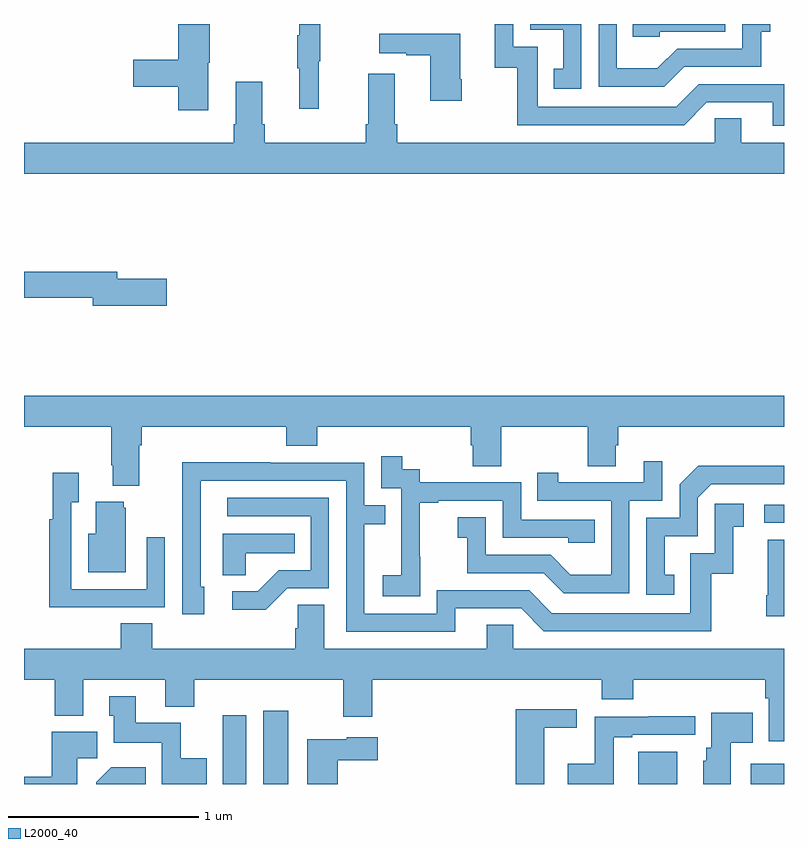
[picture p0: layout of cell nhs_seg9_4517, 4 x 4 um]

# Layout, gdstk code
import gdstk
lib = gdstk.Library(unit=1e-6, precision=1e-09)
def R(c, l, rs):  # rectangles x0, y0, x1, y1
    for r in rs: c.add(gdstk.rectangle(r[:2], r[2:], *l))
def P(c, l, *ps):  # polygons
    for p in ps: c.add(gdstk.Polygon(p, *l))
L2000_40 = (2000, 40)

nhs_seg9_4517 = lib.new_cell('nhs_seg9_4517')
R(nhs_seg9_4517, L2000_40, [(370.046,1234.5,370.171,1234.861), (370.259,1234.5,370.39,1234.885), (372.233,1234.5,372.439,1234.669), (372.824,1234.5,373,1234.606), (372.897,1235.874,373,1235.97)])
P(nhs_seg9_4517, L2000_40, [(373,1238.184),(372.552,1238.184),(372.432,1238.064),(371.703,1238.064),(371.703,1238.379),(371.574,1238.379),(371.574,1238.5),(371.477,1238.5),(371.477,1238.271),(371.595,1238.271),(371.595,1237.968),(372.474,1237.968),(372.594,1238.088),(372.941,1238.088),(372.941,1237.965),(373,1237.965)],
  [(369.97,1238.295),(369.978,1238.295),(369.978,1238.5),(369.812,1238.5),(369.812,1238.312),(369.576,1238.312),(369.576,1238.17),(369.812,1238.17),(369.812,1238.046),(369.97,1238.046)],
  [(372.475,1238.274),(372.879,1238.274),(372.879,1238.459),(372.928,1238.459),(372.928,1238.5),(372.78,1238.5),(372.78,1238.37),(372.438,1238.37),(372.334,1238.266),(372.12,1238.266),(372.12,1238.5),(372.024,1238.5),(372.024,1238.169),(372.37,1238.169)],
  [(370.55,1238.304),(370.558,1238.304),(370.558,1238.5),(370.448,1238.5),(370.448,1238.441),(370.437,1238.441),(370.437,1238.267),(370.448,1238.267),(370.448,1238.055),(370.55,1238.055)],
  [(371.934,1238.5),(371.664,1238.5),(371.664,1238.469),(371.837,1238.469),(371.837,1238.265),(371.788,1238.265),(371.788,1238.16),(371.934,1238.16)],
  [(372.345,1238.46),(372.69,1238.46),(372.69,1238.5),(372.205,1238.5),(372.205,1238.433),(372.345,1238.433)],
  [(371.304,1238.209),(371.296,1238.209),(371.296,1238.449),(370.869,1238.449),(370.869,1238.345),(371.012,1238.345),(371.012,1238.335),(371.138,1238.335),(371.138,1238.097),(371.304,1238.097)],
  [(373,1237.876),(372.775,1237.876),(372.775,1238.003),(372.636,1238.003),(372.636,1237.876),(370.964,1237.876),(370.964,1237.972),(370.951,1237.972),(370.951,1238.239),(370.811,1238.239),(370.811,1237.972),(370.799,1237.972),(370.799,1237.876),(370.268,1237.876),(370.268,1237.972),(370.255,1237.972),(370.255,1238.197),(370.115,1238.197),(370.115,1237.972),(370.103,1237.972),(370.103,1237.876),(369,1237.876),(369,1237.712),(373,1237.712)],
  [(369.751,1237.16),(369.49,1237.16),(369.49,1237.196),(369,1237.196),(369,1237.06),(369.362,1237.06),(369.362,1237.018),(369.751,1237.018)],
  [(369,1236.38),(369.46,1236.38),(369.46,1236.178),(369.467,1236.178),(369.467,1236.071),(369.607,1236.071),(369.607,1236.284),(369.62,1236.284),(369.62,1236.38),(370.379,1236.38),(370.379,1236.281),(370.544,1236.281),(370.544,1236.38),(371.351,1236.38),(371.351,1236.282),(371.363,1236.282),(371.363,1236.172),(371.511,1236.172),(371.511,1236.38),(371.968,1236.38),(371.968,1236.172),(372.115,1236.172),(372.115,1236.282),(372.128,1236.282),(372.128,1236.38),(373,1236.38),(373,1236.544),(369,1236.544)],
  [(371.085,1235.695),(371.084,1235.695),(371.084,1235.979),(371.179,1235.979),(371.179,1235.991),(371.52,1235.991),(371.52,1235.796),(371.865,1235.796),(371.865,1235.769),(372.005,1235.769),(372.005,1235.892),(371.616,1235.892),(371.616,1236.087),(371.082,1236.087),(371.082,1236.156),(370.99,1236.156),(370.99,1236.226),(370.881,1236.226),(370.881,1236.057),(370.986,1236.057),(370.986,1235.828),(370.985,1235.828),(370.985,1235.599),(370.887,1235.599),(370.887,1235.489),(371.085,1235.489)],
  [(372.186,1235.991),(372.36,1235.991),(372.36,1236.199),(372.263,1236.199),(372.263,1236.087),(371.812,1236.087),(371.812,1236.139),(371.701,1236.139),(371.701,1235.991),(372.09,1235.991),(372.09,1235.602),(371.876,1235.602),(371.772,1235.706),(371.43,1235.706),(371.43,1235.905),(371.283,1235.905),(371.283,1235.795),(371.332,1235.795),(371.332,1235.61),(371.735,1235.61),(371.84,1235.505),(372.186,1235.505)],
  [(371.269,1235.424),(371.616,1235.424),(371.736,1235.304),(372.616,1235.304),(372.616,1235.607),(372.734,1235.607),(372.734,1235.853),(372.787,1235.853),(372.787,1235.974),(372.636,1235.974),(372.636,1235.715),(372.507,1235.715),(372.507,1235.4),(371.778,1235.4),(371.658,1235.52),(371.172,1235.52),(371.172,1235.397),(370.791,1235.397),(370.791,1235.866),(370.901,1235.866),(370.901,1235.967),(370.791,1235.967),(370.791,1236.192),(370.295,1236.192),(370.295,1236.194),(369.832,1236.194),(369.832,1235.887),(369.834,1235.887),(369.834,1235.394),(369.949,1235.394),(369.949,1235.538),(369.93,1235.538),(369.93,1236.096),(370.695,1236.096),(370.695,1235.301),(371.269,1235.301)],
  [(372.422,1235.601),(372.373,1235.601),(372.373,1235.805),(372.546,1235.805),(372.546,1236.006),(372.618,1236.078),(373,1236.078),(373,1236.174),(372.956,1236.174),(372.956,1236.176),(372.548,1236.176),(372.45,1236.078),(372.45,1235.901),(372.276,1235.901),(372.276,1235.496),(372.422,1235.496)],
  [(369.425,1235.43),(369.741,1235.43),(369.741,1235.8),(369.645,1235.8),(369.645,1235.526),(369.249,1235.526),(369.249,1235.983),(369.289,1235.983),(369.289,1236.139),(369.152,1236.139),(369.152,1235.894),(369.133,1235.894),(369.133,1235.429),(369.425,1235.429)],
  [(370.386,1235.529),(370.605,1235.529),(370.605,1236.006),(370.071,1236.006),(370.071,1235.91),(370.509,1235.91),(370.509,1235.625),(370.34,1235.625),(370.229,1235.514),(370.095,1235.514),(370.095,1235.417),(370.273,1235.417)],
  [(369.535,1235.955),(369.524,1235.955),(369.524,1235.986),(369.377,1235.986),(369.377,1235.818),(369.338,1235.818),(369.338,1235.615),(369.535,1235.615)],
  [(370.167,1235.714),(370.424,1235.714),(370.424,1235.818),(370.046,1235.818),(370.046,1235.599),(370.167,1235.599)],
  [(373,1235.785),(372.914,1235.785),(372.914,1235.494),(372.907,1235.494),(372.907,1235.382),(373,1235.382)],
  [(372.041,1234.946),(372.206,1234.946),(372.206,1235.048),(372.901,1235.048),(372.901,1234.952),(372.921,1234.952),(372.921,1234.725),(373,1234.725),(373,1235.212),(371.574,1235.212),(371.574,1235.339),(371.435,1235.339),(371.435,1235.212),(370.579,1235.212),(370.579,1235.444),(370.44,1235.444),(370.44,1235.321),(370.427,1235.321),(370.427,1235.212),(369.674,1235.212),(369.674,1235.345),(369.509,1235.345),(369.509,1235.212),(369,1235.212),(369,1235.048),(369.161,1235.048),(369.161,1234.859),(369.313,1234.859),(369.313,1235.048),(369.743,1235.048),(369.743,1234.907),(369.896,1234.907),(369.896,1235.048),(370.679,1235.048),(370.679,1234.854),(370.832,1234.854),(370.832,1235.048),(372.041,1235.048)],
  [(369.961,1234.636),(369.825,1234.636),(369.825,1234.822),(369.589,1234.822),(369.589,1234.963),(369.449,1234.963),(369.449,1234.86),(369.473,1234.86),(369.473,1234.718),(369.726,1234.718),(369.726,1234.5),(369.961,1234.5)],
  [(371.737,1234.796),(371.908,1234.796),(371.908,1234.894),(371.588,1234.894),(371.588,1234.5),(371.737,1234.5)],
  [(372.721,1234.718),(372.836,1234.718),(372.836,1234.876),(372.617,1234.876),(372.617,1234.692),(372.59,1234.692),(372.59,1234.623),(372.575,1234.623),(372.575,1234.5),(372.721,1234.5)],
  [(372.105,1234.746),(372.202,1234.746),(372.202,1234.758),(372.532,1234.758),(372.532,1234.856),(372.289,1234.856),(372.289,1234.854),(372.004,1234.854),(372.004,1234.606),(371.862,1234.606),(371.862,1234.5),(372.105,1234.5)],
  [(369.28,1234.636),(369.385,1234.636),(369.385,1234.774),(369.146,1234.774),(369.146,1234.538),(369,1234.538),(369,1234.5),(369.28,1234.5)],
  [(370.652,1234.625),(370.861,1234.625),(370.861,1234.747),(370.698,1234.747),(370.698,1234.735),(370.49,1234.735),(370.49,1234.5),(370.652,1234.5)],
  [(369.641,1234.588),(369.458,1234.588),(369.38,1234.51),(369.38,1234.5),(369.641,1234.5)])

lib.write_gds('nhs_seg9_4517.gds')
